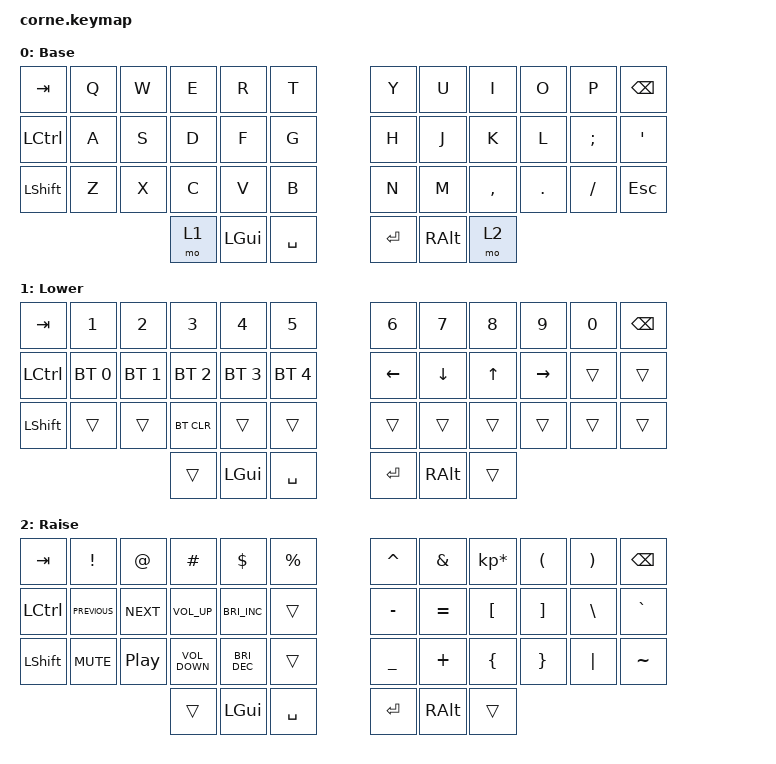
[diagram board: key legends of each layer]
/*
 * Copyright (c) 2020 The ZMK Contributors
 *
 * SPDX-License-Identifier: MIT
 */

#include <behaviors.dtsi>
#include <dt-bindings/zmk/bt.h>
#include <dt-bindings/zmk/keys.h>

/ {
    keymap {
        compatible = "zmk,keymap";

        default_layer {
            // -----------------------------------------------------------------------------------------
            // |  TAB |  Q  |  W  |  E  |  R  |  T  |   |  Y  |  U   |  I  |  O  |  P  | BKSP |
            // | CTRL |  A  |  S  |  D  |  F  |  G  |   |  H  |  J   |  K  |  L  |  ;  |  '   |
            // | SHFT |  Z  |  X  |  C  |  V  |  B  |   |  N  |  M   |  ,  |  .  |  /  | ESC  |
            //                    | GUI | LWR | SPC |   | ENT | RSE  | ALT |

            display-name = "Base";
            bindings = <
&kp TAB    &kp Q  &kp W  &kp E  &kp R     &kp T        &kp Y    &kp U          &kp I      &kp O    &kp P     &kp BSPC
&kp LCTRL  &kp A  &kp S  &kp D  &kp F     &kp G        &kp H    &kp J          &kp K      &kp L    &kp SEMI  &kp SQT
&kp LSHFT  &kp Z  &kp X  &kp C  &kp V     &kp B        &kp N    &kp M          &kp COMMA  &kp DOT  &kp FSLH  &kp ESC
                         &mo 1  &kp LGUI  &kp SPACE    &kp RET  &kp RIGHT_ALT  &mo 2
            >;
        };

        lower_layer {
            // -----------------------------------------------------------------------------------------
            // |  TAB |  1  |  2  |  3  |  4  |  5  |   |  6  |  7  |  8  |  9  |  0  | BKSP |
            // | BTCLR| BT1 | BT2 | BT3 | BT4 | BT5 |   | LFT | DWN |  UP | RGT |     |      |
            // | SHFT |     |     |     |     |     |   |     |     |     |     |     |      |
            //                    | GUI |     | SPC |   | ENT |     | ALT |

            display-name = "Lower";
            bindings = <
&kp TAB    &kp N1        &kp N2        &kp N3        &kp N4        &kp N5          &kp N6    &kp N7    &kp N8  &kp N9     &kp N0  &kp BSPC
&kp LCTRL  &bt BT_SEL 0  &bt BT_SEL 1  &bt BT_SEL 2  &bt BT_SEL 3  &bt BT_SEL 4    &kp LEFT  &kp DOWN  &kp UP  &kp RIGHT  &trans  &trans
&kp LSHFT  &trans        &trans        &bt BT_CLR    &trans        &trans          &trans    &trans    &trans  &trans     &trans  &trans
                                       &trans        &kp LGUI      &kp SPACE       &kp RET   &kp RALT  &trans
            >;
        };

        raise_layer {
            // -----------------------------------------------------------------------------------------
            // |  TAB |  !  |  @  |  #  |  $  |  %  |   |  ^  |  &  |  *  |  (  |  )  | BKSP |
            // | CTRL |     |     |     |     |     |   |  -  |  =  |  [  |  ]  |  \  |  `   |
            // | SHFT |     |     |     |     |     |   |  _  |  +  |  {  |  }  | "|" |  ~   |
            //                    | GUI |     | SPC |   | ENT |     | ALT |

            display-name = "Raise";
            bindings = <
&kp TAB    &kp EXCL        &kp AT            &kp HASH           &kp DLLR              &kp PRCNT    &kp CARET  &kp AMPS   &kp KP_MULTIPLY  &kp LPAR  &kp RPAR  &kp BSPC
&kp LCTRL  &kp C_PREVIOUS  &kp C_NEXT        &kp C_VOLUME_UP    &kp C_BRIGHTNESS_INC  &trans       &kp MINUS  &kp EQUAL  &kp LBKT         &kp RBKT  &kp BSLH  &kp GRAVE
&kp LSHFT  &kp C_MUTE      &kp C_PLAY_PAUSE  &kp C_VOLUME_DOWN  &kp C_BRIGHTNESS_DEC  &trans       &kp UNDER  &kp PLUS   &kp LBRC         &kp RBRC  &kp PIPE  &kp TILDE
                                             &trans             &kp LGUI              &kp SPACE    &kp RET    &kp RALT   &trans
            >;
        };
    };
};
